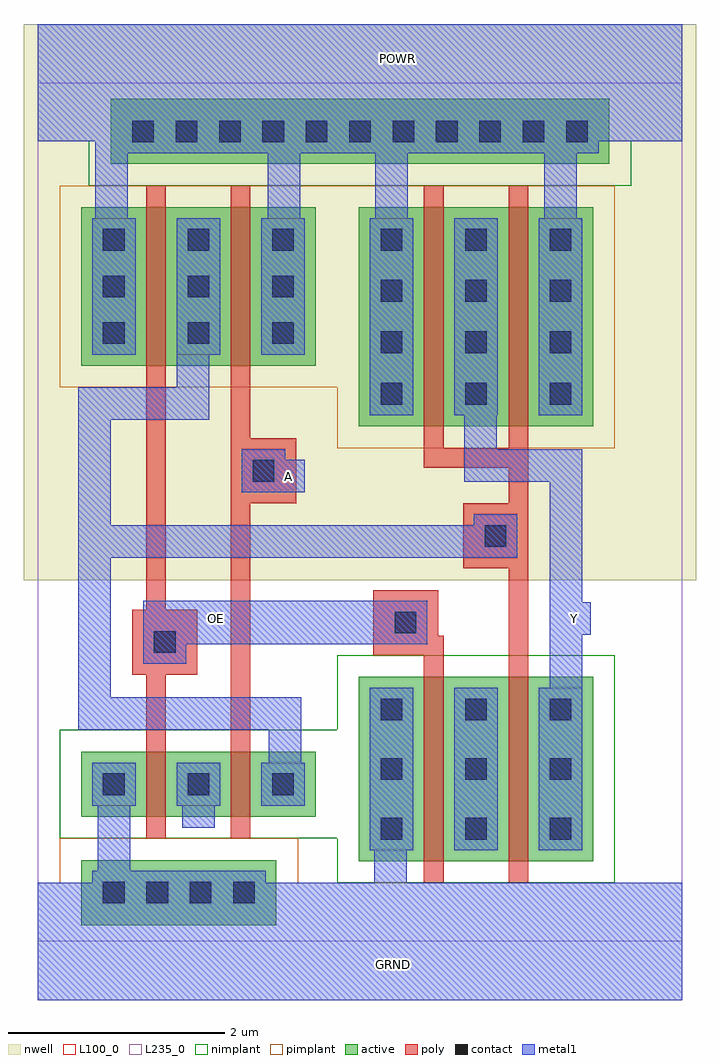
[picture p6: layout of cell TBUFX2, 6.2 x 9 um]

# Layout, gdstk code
import gdstk
lib = gdstk.Library(unit=1e-6, precision=1e-09)
def R(c, l, rs):  # rectangles x0, y0, x1, y1
    for r in rs: c.add(gdstk.rectangle(r[:2], r[2:], *l))
def A(c, l, x, y, w, h, nx, ny, dx, dy):  # array of equal rectangles
    R(c, l, [(x+i*dx, y+j*dy, x+i*dx+w, y+j*dy+h) for i in range(nx) for j in range(ny)])
def P(c, l, *ps):  # polygons
    for p in ps: c.add(gdstk.Polygon(p, *l))
active = (1, 0)
nwell = (2, 0)
poly = (3, 0)
nimplant = (4, 0)
pimplant = (5, 0)
contact = (6, 0)
metal1 = (7, 0)
L100_0 = (100, 0)
L235_0 = (235, 0)

tbufx2 = lib.new_cell('TBUFX2')
A(tbufx2, active, 2.96, 4.75, 0.6, 2.02, 3, 1, 0.78, 0)
R(tbufx2, active, [(0.4,0.15,2.2,0.75), (2.96,0.74,3.56,2.44), (3.56,0.74,3.74,2.44), (3.74,0.74,4.34,2.44), (3.74,0.74,4.34,2.44), (4.34,0.74,4.52,2.44), (4.52,0.74,5.12,2.44), (0.4,1.15,1,1.75), (1,1.15,1.18,1.75), (1.18,1.15,1.78,1.75), (1.18,1.15,1.78,1.75), (1.78,1.15,1.96,1.75), (1.96,1.15,2.56,1.75), (3.56,4.75,3.74,6.77), (4.34,4.75,4.52,6.77), (0.4,5.31,1,6.77), (1,5.31,1.18,6.77), (1.18,5.31,1.78,6.77), (1.18,5.31,1.78,6.77), (1.78,5.31,1.96,6.77), (1.96,5.31,2.56,6.77), (0.67,7.17,5.27,7.77)])
R(tbufx2, nwell, [(-0.13,3.33,6.07,8.46), (2.46,4.25,5.62,7.27), (-0.1,4.81,2.28,7.27), (0.68,4.81,3.06,7.27)])
R(tbufx2, poly, [(3.56,0.54,3.74,0.74), (3.56,0.54,3.74,2.64), (4.34,0.54,4.52,0.74), (4.34,0.54,4.52,2.64), (1,0.95,1.18,1.95), (1,0.95,1.18,1.15), (1.78,0.95,1.96,1.95), (1.78,0.95,1.96,1.15), (1,1.75,1.18,1.95), (1.78,1.75,1.96,1.95), (3.56,2.44,3.74,2.64), (4.34,2.44,4.52,2.64), (0.87,2.46,1.47,3.06), (3.09,2.64,3.69,3.24), (3.92,3.44,4.52,4.04), (1.78,4.04,2.38,4.64), (3.56,4.55,3.74,4.75), (3.56,4.55,3.74,6.97), (4.34,4.55,4.52,4.75), (4.34,4.55,4.52,6.97), (1,5.11,1.18,5.31), (1,5.11,1.18,6.97), (1.78,5.11,1.96,5.31), (1.78,5.11,1.96,6.97), (1,6.77,1.18,6.97), (1.78,6.77,1.96,6.97), (3.56,6.77,3.74,6.97), (4.34,6.77,4.52,6.97)])
R(tbufx2, nimplant, [(2.76,0.54,4.54,2.64), (3.54,0.54,5.32,2.64), (0.2,0.95,1.98,1.95), (0.98,0.95,2.76,1.95)])
P(tbufx2, nimplant, [(5.94,8.46),(0,8.46),(0,7.38),(0.47,7.38),(0.47,6.97),(5.47,6.97),(5.47,7.38),(5.94,7.38)])
R(tbufx2, pimplant, [(2.76,4.55,5.32,6.97), (0.2,5.11,1.98,6.97), (0.98,5.11,2.76,6.97)])
P(tbufx2, pimplant, [(5.94,0.54),(2.4,0.54),(2.4,0.95),(0.2,0.95),(0.2,0.54),(0,0.54),(0,-0.54),(5.94,-0.54)])
A(tbufx2, contact, 0.6, 0.35, 0.2, 0.2, 4, 1, 0.4, 0)
A(tbufx2, contact, 3.16, 0.94, 0.2, 0.2, 1, 3, 0, 0.55)
A(tbufx2, contact, 4.72, 0.94, 0.2, 0.2, 1, 3, 0, 0.55)
A(tbufx2, contact, 3.16, 4.95, 0.2, 0.2, 3, 3, 0.78, 0.475)
A(tbufx2, contact, 0.6, 5.51, 0.2, 0.2, 1, 3, 0, 0.43)
A(tbufx2, contact, 2.16, 5.51, 0.2, 0.2, 1, 3, 0, 0.43)
A(tbufx2, contact, 3.16, 6.37, 0.2, 0.2, 3, 1, 0.78, 0)
A(tbufx2, contact, 0.87, 7.37, 0.2, 0.2, 11, 1, 0.4, 0)
R(tbufx2, contact, [(0.6,0.35,0.8,0.55), (3.94,0.94,4.14,1.14), (3.94,0.94,4.14,1.14), (0.6,1.35,0.8,1.55), (1.38,1.35,1.58,1.55), (1.38,1.35,1.58,1.55), (2.16,1.35,2.36,1.55), (3.94,1.49,4.14,1.69), (3.94,1.49,4.14,1.69), (3.94,2.04,4.14,2.24), (3.94,2.04,4.14,2.24), (1.07,2.66,1.27,2.86), (3.29,2.84,3.49,3.04), (4.12,3.64,4.32,3.84), (1.98,4.24,2.18,4.44), (1.38,5.51,1.58,5.71), (1.38,5.51,1.58,5.71), (1.38,5.94,1.58,6.14), (1.38,5.94,1.58,6.14), (1.38,6.37,1.58,6.57), (1.38,6.37,1.58,6.57)])
R(tbufx2, metal1, [(0,-0.54,5.94,0.54), (0.5,0.25,2.1,0.65), (0.97,2.56,1.37,2.96), (3.19,2.74,3.59,3.14), (1.5,2.83,1.8,3.13), (4.8,2.83,5.1,3.13), (4.02,3.54,4.42,3.94), (1.88,4.14,2.28,4.54), (2.16,4.14,2.46,4.44), (0.77,7.27,5.17,7.67), (0,7.38,5.94,8.46)])
R(tbufx2, L100_0, [(3.06,0.84,3.46,2.34), (3.84,0.84,4.24,2.34), (3.84,0.84,4.24,2.34), (4.62,0.84,5.02,2.34), (0.5,1.25,0.9,1.65), (1.28,1.25,1.68,1.65), (1.28,1.25,1.68,1.65), (2.06,1.25,2.46,1.65), (3.06,4.85,3.46,6.67), (4.62,4.85,5.02,6.67), (0.5,5.41,0.9,6.67), (1.28,5.41,1.68,6.67), (1.28,5.41,1.68,6.67), (2.06,5.41,2.46,6.67)])
R(tbufx2, L235_0, [(0,0,5.94,7.92)])
tbufx2.add(gdstk.FlexPath([(3.56,4.46),(4.52,4.46)], 0.18, ends="flush", simple_path=True, layer=3, datatype=0))  # poly
tbufx2.add(gdstk.FlexPath([(1.09,5.12),(1.09,1.95)], 0.18, ends="flush", simple_path=True, layer=3, datatype=0))  # poly
tbufx2.add(gdstk.FlexPath([(3.74,2.73),(3.1,2.73)], 0.18, ends="flush", simple_path=True, layer=3, datatype=0))  # poly
tbufx2.add(gdstk.FlexPath([(4.43,4.7),(4.43,2.27)], 0.18, ends="flush", simple_path=True, layer=3, datatype=0))  # poly
tbufx2.add(gdstk.FlexPath([(1.87,5.14),(1.87,1.92)], 0.18, ends="flush", simple_path=True, layer=3, datatype=0))  # poly
tbufx2.add(gdstk.FlexPath([(0.7,1.25),(0.7,1.65)], 0.4, ends="flush", simple_path=True, layer=7, datatype=0))  # metal1
tbufx2.add(gdstk.FlexPath([(1.48,1.25),(1.48,1.65)], 0.4, ends="flush", simple_path=True, layer=7, datatype=0))  # metal1
tbufx2.add(gdstk.FlexPath([(1.48,1.65),(1.48,1.05)], 0.3, ends="flush", simple_path=True, layer=7, datatype=0))  # metal1
tbufx2.add(gdstk.FlexPath([(4.82,6.63),(4.82,7.39)], 0.3, ends="flush", simple_path=True, layer=7, datatype=0))  # metal1
tbufx2.add(gdstk.FlexPath([(0.63,3.69),(4.02,3.69)], 0.3, ends="flush", simple_path=True, layer=7, datatype=0))  # metal1
tbufx2.add(gdstk.FlexPath([(3.25,0.88),(3.25,0.49)], 0.3, ends="flush", simple_path=True, layer=7, datatype=0))  # metal1
tbufx2.add(gdstk.FlexPath([(0.97,2.94),(3.19,2.94)], 0.4, ends="flush", simple_path=True, layer=7, datatype=0))  # metal1
tbufx2.add(gdstk.FlexPath([(3.26,6.64),(3.26,7.32)], 0.3, ends="flush", simple_path=True, layer=7, datatype=0))  # metal1
tbufx2.add(gdstk.FlexPath([(4.08,4.9),(4.08,4.39),(4.87,4.39),(4.87,2.31)], 0.3, ends="flush", simple_path=True, layer=7, datatype=0))  # metal1
tbufx2.add(gdstk.FlexPath([(4.82,4.85),(4.82,6.67)], 0.4, ends="flush", simple_path=True, layer=7, datatype=0))  # metal1
tbufx2.add(gdstk.FlexPath([(4.04,4.85),(4.04,6.67)], 0.4, ends="flush", simple_path=True, layer=7, datatype=0))  # metal1
tbufx2.add(gdstk.FlexPath([(3.26,4.85),(3.26,6.67)], 0.4, ends="flush", simple_path=True, layer=7, datatype=0))  # metal1
tbufx2.add(gdstk.FlexPath([(2.27,6.62),(2.27,7.31)], 0.3, ends="flush", simple_path=True, layer=7, datatype=0))  # metal1
tbufx2.add(gdstk.FlexPath([(0.68,6.62),(0.68,7.47)], 0.3, ends="flush", simple_path=True, layer=7, datatype=0))  # metal1
tbufx2.add(gdstk.FlexPath([(1.43,5.42),(1.43,4.96),(0.52,4.96),(0.52,2.1),(2.28,2.1),(2.28,1.61)], 0.3, ends="flush", simple_path=True, layer=7, datatype=0))  # metal1
tbufx2.add(gdstk.FlexPath([(0.7,1.28),(0.7,0.63)], 0.3, ends="flush", simple_path=True, layer=7, datatype=0))  # metal1
tbufx2.add(gdstk.FlexPath([(2.26,5.41),(2.26,6.67)], 0.4, ends="flush", simple_path=True, layer=7, datatype=0))  # metal1
tbufx2.add(gdstk.FlexPath([(1.48,5.41),(1.48,6.67)], 0.4, ends="flush", simple_path=True, layer=7, datatype=0))  # metal1
tbufx2.add(gdstk.FlexPath([(1.48,5.41),(1.48,6.67)], 0.4, ends="flush", simple_path=True, layer=7, datatype=0))  # metal1
tbufx2.add(gdstk.FlexPath([(0.7,5.41),(0.7,6.67)], 0.4, ends="flush", simple_path=True, layer=7, datatype=0))  # metal1
tbufx2.add(gdstk.FlexPath([(4.04,0.84),(4.04,2.34)], 0.4, ends="flush", simple_path=True, layer=7, datatype=0))  # metal1
tbufx2.add(gdstk.FlexPath([(3.26,0.84),(3.26,2.34)], 0.4, ends="flush", simple_path=True, layer=7, datatype=0))  # metal1
tbufx2.add(gdstk.FlexPath([(4.82,0.84),(4.82,2.34)], 0.4, ends="flush", simple_path=True, layer=7, datatype=0))  # metal1
tbufx2.add(gdstk.FlexPath([(4.04,0.84),(4.04,2.34)], 0.4, ends="flush", simple_path=True, layer=7, datatype=0))  # metal1
tbufx2.add(gdstk.FlexPath([(2.26,1.25),(2.26,1.65)], 0.4, ends="flush", simple_path=True, layer=7, datatype=0))  # metal1
tbufx2.add(gdstk.FlexPath([(1.48,1.25),(1.48,1.65)], 0.4, ends="flush", simple_path=True, layer=7, datatype=0))  # metal1
tbufx2.add(gdstk.Label('OE', (1.65,2.98), layer=230, texttype=0))
tbufx2.add(gdstk.Label('POWR', (3.32,8.14), layer=230, texttype=0))
tbufx2.add(gdstk.Label('A', (2.31,4.29), layer=230, texttype=0))
tbufx2.add(gdstk.Label('GRND', (3.28,-0.21), layer=230, texttype=0))
tbufx2.add(gdstk.Label('Y', (4.95,2.98), layer=230, texttype=0))

lib.write_gds('TBUFX2.gds')
